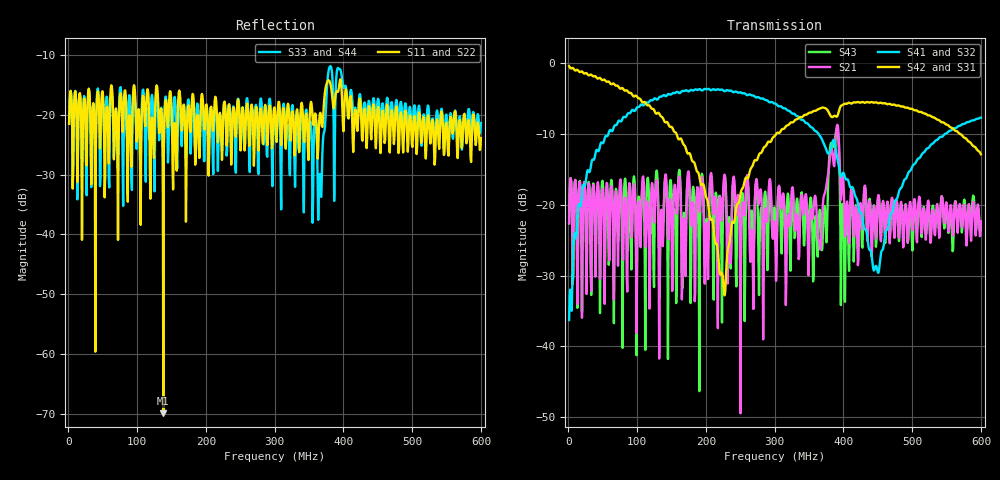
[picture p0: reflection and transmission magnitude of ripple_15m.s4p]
! synthetic reference sample ripple_15m
! measured through fixture_launch at both ends
! synthetic measurement, noise -85.0 dB
# Hz S RI R 50
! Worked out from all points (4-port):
!   801 points, 1 MHz to 600 MHz, reference 50 ohm
!   strongest paths, dB at 1 MHz, 150.8 MHz, 300.5 MHz, 450.2 MHz, 600 MHz:
!     S42: -0.4, -9.1, -10.2, -5.6, -12.8
!     S31: -0.4, -9.1, -10.2, -5.6, -12.8
!     S41: -36.3, -4.3, -5.7, -29.6, -7.7
!     S32: -36.2, -4.3, -5.7, -29.6, -7.7
!     S21: -22.6, -32.2, -23.5, -19.0, -22.3
!     S43: -22.6, -19.6, -21.3, -19.3, -22.6
!   lowest |S11| = -69.9 dB at 138 MHz (marker M1), VSWR 1.00, Z = 50 + j0.0252 ohm
!   |S11| at or under -10 dB: start of sweep to end of sweep
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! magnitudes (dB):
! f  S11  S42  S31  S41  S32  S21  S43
! 1 MHz  -21.5  -0.4  -0.4  -36.3  -36.2  -22.6  -22.6
! 37.69 MHz  -20.9  -1.8  -1.8  -13.5  -13.5  -19.5  -19.1
! 138 MHz  -69.9  -7.9  -7.9  -4.5  -4.5  -24.2  -22.3
! 226.4 MHz  -18.0  -32.3  -32.3  -3.9  -3.9  -16.0  -16.5
! 365.6 MHz  -19.9  -6.4  -6.4  -10.2  -10.2  -25.7  -20.7
! 448.8 MHz  -21.0  -5.6  -5.6  -29.0  -28.9  -22.0  -22.7
! 600 MHz  -23.9  -12.8  -12.8  -7.7  -7.7  -22.3  -22.6
